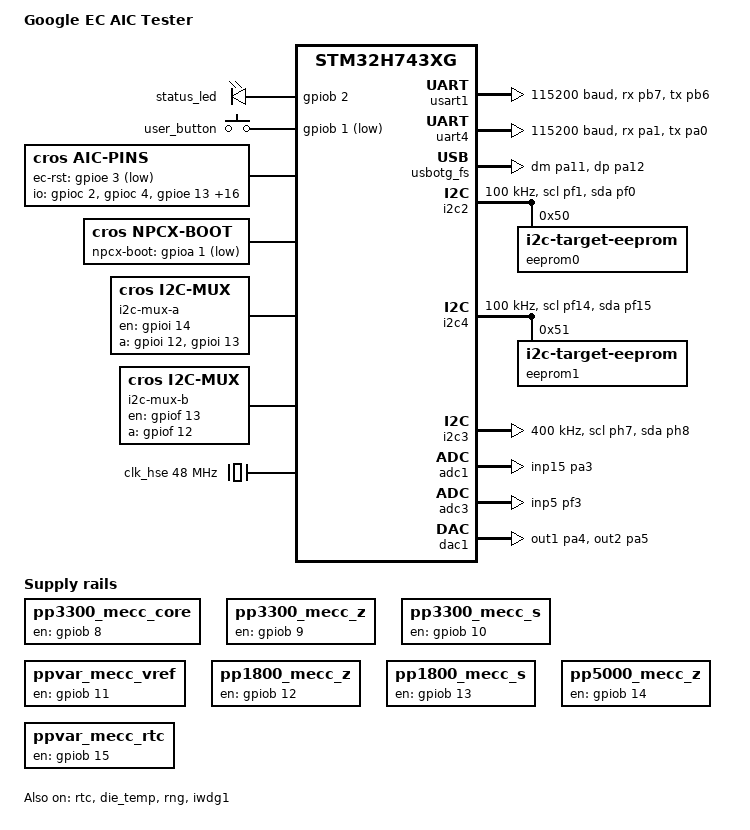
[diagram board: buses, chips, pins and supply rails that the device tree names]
/* Copyright 2024 The ChromiumOS Authors
 * Use of this source code is governed by a BSD-style license that can be
 * found in the LICENSE file.
 */

/dts-v1/;
#include <st/h7/stm32h743Xg.dtsi>
#include <st/h7/stm32h743bgtx-pinctrl.dtsi>
#include <zephyr/dt-bindings/input/input-event-codes.h>

/ {
	model = "Google EC AIC Tester";
	compatible = "google,dagwood";

	chosen {
		/* change to &usart1 to move the shell to J3/J4 */
		zephyr,console = &cdc_acm_uart_shell;
		zephyr,shell-uart = &cdc_acm_uart_shell;
		zephyr,sram = &sram0;
		zephyr,flash = &flash0;
		zephyr,dtcm = &dtcm;
	};

	leds {
		compatible = "gpio-leds";
		status_led: mcu_pb02 {
			gpios = <&gpiob 2 GPIO_ACTIVE_HIGH>;
		};
	};

	gpio_keys: gpio-keys {
		compatible = "gpio-keys";
		debounce-interval-ms = <3>;

		user_button: mcu_pb01 {
			gpios = <&gpiob 1 GPIO_ACTIVE_LOW>;
			zephyr,code = <INPUT_KEY_0>;
		};
	};

	aliases {
		led0 = &status_led;
		sw0 = &user_button;
		watchdog0 = &iwdg;
		die-temp0 = &die_temp;
	};

	uart_bridge: uart-bridge {
		compatible = "zephyr,uart-bridge";
		zephyr,pm-device-runtime-auto;
		peers = <&cdc_acm_uart_ec &uart4>;
	};

	uart_bridge_alt: uart-bridge-alt {
		compatible = "zephyr,uart-bridge";
		zephyr,pm-device-runtime-auto;
		peers = <&cdc_acm_uart_ec_alt &uart4>;
	};

	pp3300_mecc_core: pp3300_mecc_core {
		compatible = "regulator-fixed";
		regulator-name = "pp3300_mecc_core";
		enable-gpios = <&gpiob 8 GPIO_ACTIVE_HIGH>;
	};

	pp3300_mecc_z: pp3300_mecc_z {
		compatible = "regulator-fixed";
		regulator-name = "pp3300_mecc_z";
		enable-gpios = <&gpiob 9 GPIO_ACTIVE_HIGH>;
	};

	pp3300_mecc_s: pp3300_mecc_s {
		compatible = "regulator-fixed";
		regulator-name = "pp3300_mecc_s";
		enable-gpios = <&gpiob 10 GPIO_ACTIVE_HIGH>;
	};

	ppvar_mecc_vref: ppvar_mecc_vref {
		compatible = "regulator-fixed";
		regulator-name = "ppvar_mecc_vref";
		enable-gpios = <&gpiob 11 GPIO_ACTIVE_HIGH>;
	};

	pp1800_mecc_z: pp1800_mecc_z {
		compatible = "regulator-fixed";
		regulator-name = "pp1800_mecc_z";
		enable-gpios = <&gpiob 12 GPIO_ACTIVE_HIGH>;
	};

	pp1800_mecc_s: pp1800_mecc_s {
		compatible = "regulator-fixed";
		regulator-name = "pp1800_mecc_s";
		enable-gpios = <&gpiob 13 GPIO_ACTIVE_HIGH>;
	};

	pp5000_mecc_z: pp5000_mecc_z {
		compatible = "regulator-fixed";
		regulator-name = "pp5000_mecc_z";
		enable-gpios = <&gpiob 14 GPIO_ACTIVE_HIGH>;
	};

	ppvar_mecc_rtc: ppvar_mecc_rtc {
		compatible = "regulator-fixed";
		regulator-name = "ppvar_mecc_rtc";
		enable-gpios = <&gpiob 15 GPIO_ACTIVE_HIGH>;
	};

	aic-pins {
		compatible = "cros,aic-pins";
		ec-rst-gpios = <&gpioe 3 GPIO_ACTIVE_LOW>;
		io-gpios = <&gpioc 2 GPIO_ACTIVE_HIGH>, /* CCD_MODE_L */
			   <&gpioc 4 GPIO_ACTIVE_HIGH>, /* EN_PP5000_FAN */
			   <&gpioe 13 GPIO_ACTIVE_HIGH>, /* I2C_MECC_PDC4_INT_L */

			   /* TODO: figure out why some signals are not getting
			    * through on the NPCX AIC board
			    */

			   /* KSI */
			   /* <&gpiok 0 GPIO_ACTIVE_HIGH>, */ /* MCU_OUT_KBD_SCANIN_A_ODL */
			   <&gpiok 1 GPIO_ACTIVE_HIGH>, /* MCU_OUT_KBD_SCANIN_B_ODL */
			   <&gpiok 2 GPIO_ACTIVE_HIGH>, /* MCU_OUT_KBD_SCANIN_C_ODL */
			   /* <&gpiok 3 GPIO_ACTIVE_HIGH>, */ /* MCU_OUT_KBD_SCANIN_D_ODL */
			   <&gpiok 4 GPIO_ACTIVE_HIGH>, /* MCU_OUT_KBD_SCANIN_E_ODL */
			   <&gpiok 5 GPIO_ACTIVE_HIGH>, /* MCU_OUT_KBD_SCANIN_F_ODL */
			   <&gpiok 6 GPIO_ACTIVE_HIGH>, /* MCU_OUT_KBD_SCANIN_G_ODL */
			   <&gpiok 7 GPIO_ACTIVE_HIGH>, /* MCU_OUT_KBD_SCANIN_H_ODL */

			   /* KSO */
			   /* <&gpioj 0 GPIO_ACTIVE_HIGH>, */ /* MCU_IN_KBD_SCANOUT_A */
			   /* <&gpioj 1 GPIO_ACTIVE_HIGH>, */ /* MCU_IN_KBD_SCANOUT_B */
			   <&gpioj 2 GPIO_ACTIVE_HIGH>, /* MCU_IN_KBD_SCANOUT_C */
			   <&gpioj 3 GPIO_ACTIVE_HIGH>, /* MCU_IN_KBD_SCANOUT_D */
			   <&gpioj 4 GPIO_ACTIVE_HIGH>, /* MCU_IN_KBD_SCANOUT_E */
			   <&gpioj 5 GPIO_ACTIVE_HIGH>, /* MCU_IN_KBD_SCANOUT_F */
			   /* <&gpioj 6 GPIO_ACTIVE_HIGH>, */ /* MCU_IN_KBD_SCANOUT_G */
			   /* <&gpioj 7 GPIO_ACTIVE_HIGH>, */ /* MCU_IN_KBD_SCANOUT_H */
			   /* <&gpioj 8 GPIO_ACTIVE_HIGH>, */ /* MCU_IN_KBD_SCANOUT_J */
			   /* <&gpioj 9 GPIO_ACTIVE_HIGH>, */ /* MCU_IN_KBD_SCANOUT_K */
			   <&gpioj 10 GPIO_ACTIVE_HIGH>, /* MCU_IN_KBD_SCANOUT_L */
			   <&gpioj 11 GPIO_ACTIVE_HIGH>, /* MCU_IN_KBD_SCANOUT_M */
			   <&gpioj 12 GPIO_ACTIVE_HIGH>, /* MCU_IN_KBD_SCANOUT_N */
			   <&gpioj 13 GPIO_ACTIVE_HIGH>, /* MCU_IN_KBD_SCANOUT_P */
			   <&gpioj 14 GPIO_ACTIVE_HIGH>, /* MCU_IN_KBD_SCANOUT_Q */
			   <&gpioj 15 GPIO_ACTIVE_HIGH>; /* MCU_IN_KBD_SCANOUT_R */
			   /* <&gpioh 3 GPIO_ACTIVE_HIGH>, */ /* MCU_IN_KBD_SCANOUT_S */
			   /* <&gpioj 4 GPIO_ACTIVE_HIGH>; */ /* MCU_IN_KBD_SCANOUT_T */
	};

	npcx-boot {
		compatible = "cros,npcx-boot";
		npcx-boot-gpios = <&gpioa 1 GPIO_ACTIVE_LOW>;
		pinctrl-0 = <&pa1_gpio>;
		pinctrl-1 = <&uart4_rx_pa1>;
		pinctrl-names = "gpio", "default";
	};

	i2c-mux-a {
		compatible = "cros,i2c-mux";
		en-gpios = <&gpioi 14 GPIO_ACTIVE_HIGH>;
		a-gpios = <&gpioi 12 GPIO_ACTIVE_HIGH>,
			  <&gpioi 13 GPIO_ACTIVE_HIGH>;
		port-count = <4>;
	};

	i2c-mux-b {
		compatible = "cros,i2c-mux";
		en-gpios = <&gpiof 13 GPIO_ACTIVE_HIGH>;
		a-gpios = <&gpiof 12 GPIO_ACTIVE_HIGH>;
		port-count = <2>;
	};
};

&pinctrl {
	pa1_gpio: pa1_gpio {
		pinmux = <STM32_PINMUX('A', 1, GPIO)>;
	};
};

&clk_lsi {
	status = "okay";
};

&clk_hsi48 {
	status = "okay";
};

&clk_hse {
	clock-frequency = <DT_FREQ_M(48)>;
	status = "okay";
};

&pll {
	div-m = <12>;
	mul-n = <240>;
	div-p = <2>;
	div-q = <2>;
	div-r = <2>;
	clocks = <&clk_hse>;
	status = "okay";
};

&pll2 {
	div-m = <24>;
	mul-n = <120>;
	div-p = <2>;
	div-q = <3>;
	div-r = <2>;
	clocks = <&clk_hse>;
	status = "okay";
};

&rcc {
	clocks = <&pll>;
	clock-frequency = <DT_FREQ_M(480)>;
	d1cpre = <1>;
	hpre = <2>;
	d1ppre = <2>;
	d2ppre1 = <2>;
	d2ppre2 = <2>;
	d3ppre = <2>;
};

&pwr {
	power-supply = "ldo";
};

/* Debug UART, J3/J4 */
&usart1 {
	pinctrl-0 = <&usart1_rx_pb7 &usart1_tx_pb6>;
	pinctrl-names = "default";
	current-speed = <115200>;
	status = "okay";
};

/* EC UART */
&uart4 {
	pinctrl-0 = <&uart4_rx_pa1 &uart4_tx_pa0>;
	pinctrl-names = "default";
	current-speed = <115200>;
	status = "okay";
};

zephyr_udc0: &usbotg_fs {
	pinctrl-0 = <&usb_otg_fs_dm_pa11 &usb_otg_fs_dp_pa12>;
	pinctrl-names = "default";
	status = "okay";

	cdc_acm_uart_shell: cdc_acm_uart_shell {
		compatible = "zephyr,cdc-acm-uart";
		label = "Dagwood shell";
	};
	cdc_acm_uart_ec: cdc_acm_uart_ec {
		compatible = "zephyr,cdc-acm-uart";
		label = "EC shell";
	};
	cdc_acm_uart_ec_alt: cdc_acm_uart_ec_alt {
		compatible = "zephyr,cdc-acm-uart";
		label = "EC UART programming";
	};
};

&rtc {
	clocks = <&rcc STM32_CLOCK_BUS_APB4 0x00010000>,
		 <&rcc STM32_SRC_LSI RTC_SEL(2)>;
	status = "okay";
};

/* target interface, connected to the U9 mux */
&i2c2 {
	pinctrl-0 = <&i2c2_scl_pf1 &i2c2_sda_pf0>;
	pinctrl-1 = <&analog_pf1 &analog_pf0>;
	pinctrl-names = "default", "sleep";
	status = "okay";
	clock-frequency = <I2C_BITRATE_STANDARD>;

	eeprom0: eeprom@50 {
		reg = <0x50>;
		size = <256>;
		compatible = "zephyr,i2c-target-eeprom";
		status = "okay";
	};
};

/* target interface, connected to the U11 mux */
&i2c4 {
	pinctrl-0 = <&i2c4_scl_pf14 &i2c4_sda_pf15>;
	pinctrl-1 = <&analog_pf14 &analog_pf15>;
	pinctrl-names = "default", "sleep";
	status = "okay";
	clock-frequency = <I2C_BITRATE_STANDARD>;

	eeprom1: eeprom@51 {
		reg = <0x51>;
		size = <256>;
		compatible = "zephyr,i2c-target-eeprom";
		status = "okay";
	};
};

/* connected to J5, QWIIC port */
zephyr_i2c: &i2c3 {
	pinctrl-0 = <&i2c3_scl_ph7 &i2c3_sda_ph8>;
	pinctrl-1 = <&analog_ph7 &analog_ph8>;
	pinctrl-names = "default", "sleep";
	status = "okay";
	clock-frequency = <I2C_BITRATE_FAST>;
};

&adc1 {
	pinctrl-0 = <&adc1_inp15_pa3>;
	pinctrl-names = "default";
	st,adc-clock-source = "SYNC";
	st,adc-prescaler = <4>;
	status = "okay";
};

&die_temp {
	status = "okay";
};

&adc3 {
	pinctrl-0 = <&adc3_inp5_pf3>;
	pinctrl-names = "default";
	st,adc-clock-source = "SYNC";
	st,adc-prescaler = <4>;
	status = "okay";
};

&dac1 {
	status = "okay";
	pinctrl-0 = <&dac1_out1_pa4 &dac1_out2_pa5>;
	pinctrl-names = "default";
};

&rng {
	status = "okay";
};

&backup_sram {
	status = "okay";
};

&iwdg1 {
	status = "okay";
};
